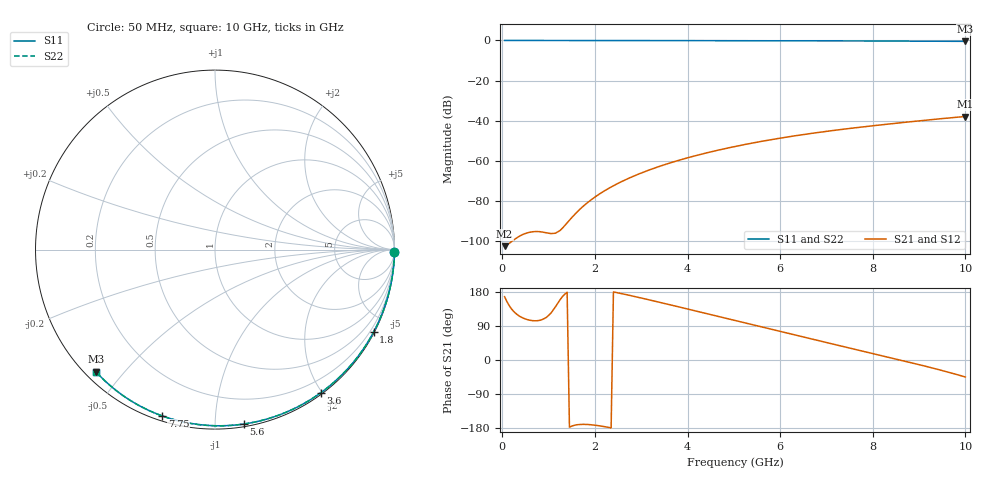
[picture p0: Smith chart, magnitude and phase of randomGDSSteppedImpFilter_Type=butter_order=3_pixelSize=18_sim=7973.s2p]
! freq	dB(S11)	phase(S11)	dB(S12)	phase(S12)
!  dB(S21)	phase(S21)	dB(S22)	phase(S22)
!S-par simulation data
#  GHz  S  DB  R 50
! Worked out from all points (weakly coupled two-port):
!   200 points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, 50 MHz to 10 GHz, reference 50 ohm
!   highest |S21| = -37.92 dB at 10 GHz (marker M1); lowest = -102.6 dB at 50 MHz (marker M2)
!   lowest |S11| = -0.4 dB at 10 GHz (marker M3), VSWR 39.04, Z = 1.51 - j21.1 ohm
!   |S11| at or under -10 dB: nowhere
!   |S22| runs from -0.4 to 0.0 dB; largest |S21 - S12| = 0
!   S11 on the Smith chart (normalised r, x): 50 MHz: open; 1.8 GHz: 0.04, -4.10; 3.6 GHz: 0.02, -1.98; 5.6 GHz: 0.02, -1.18; 7.75 GHz: 0.02, -0.73; 10 GHz: 0.03, -0.42
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0.05  -0.00 -0.8  -102.56 167.0  -102.56 167.0  -0.00 -0.8
0.45  -0.01 -6.9  -96.68 110.6  -96.68 110.6  -0.01 -7.0
0.9  -0.02 -13.8  -95.67 108.9  -95.67 108.9  -0.02 -13.8
1.75  -0.03 -26.7  -82.60 -169.8  -82.60 -169.8  -0.03 -26.7
1.8  -0.03 -27.4  -81.61 -169.9  -81.61 -169.9  -0.03 -27.4
1.9  -0.04 -28.9  -79.78 -170.7  -79.78 -170.7  -0.04 -28.9
2.05  -0.04 -31.1  -77.29 -172.8  -77.29 -172.8  -0.04 -31.1
2.25  -0.04 -34.1  -74.38 -176.8  -74.38 -176.8  -0.04 -34.1
2.45  -0.05 -37.0  -71.83 178.4  -71.83 178.4  -0.05 -37.0
2.65  -0.05 -39.9  -69.56 173.2  -69.56 173.2  -0.05 -39.9
3  -0.06 -45.0  -66.10 163.6  -66.10 163.6  -0.06 -45.0
3.4  -0.07 -50.7  -62.73 152.2  -62.73 152.2  -0.07 -50.7
3.6  -0.07 -53.6  -61.23 146.4  -61.23 146.4  -0.07 -53.6
4.3  -0.09 -63.3  -56.69 125.8  -56.69 125.8  -0.09 -63.3
5.05  -0.11 -73.4  -52.75 103.6  -52.75 103.6  -0.11 -73.4
5.6  -0.13 -80.7  -50.30 87.3  -50.30 87.3  -0.13 -80.7
6.15  -0.15 -87.7  -48.15 71.0  -48.15 71.0  -0.15 -87.7
6.7  -0.18 -94.7  -46.26 54.9  -46.26 54.9  -0.18 -94.7
7.75  -0.25 -107.5  -43.19 24.4  -43.19 24.4  -0.25 -107.5
8.35  -0.29 -114.7  -41.65 7.0  -41.65 7.0  -0.29 -114.7
9.15  -0.36 -124.2  -39.74 -16.8  -39.74 -16.8  -0.36 -124.2
10  -0.45 -134.3  -37.92 -44.8  -37.92 -44.8  -0.45 -134.3
